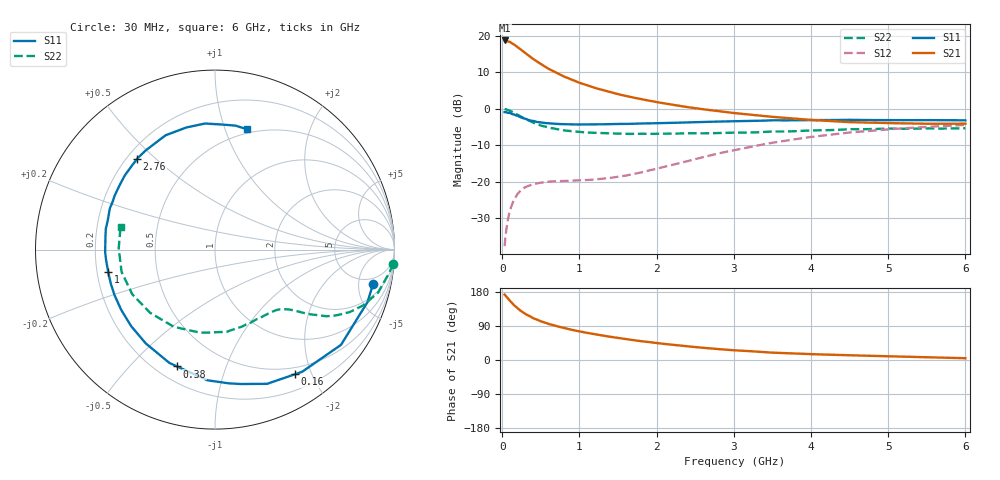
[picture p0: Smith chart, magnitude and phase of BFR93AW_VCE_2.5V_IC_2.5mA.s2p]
! Infineon Technologies  Discrete & RF Semiconductors
! BFR93AW
! VCE =  2.5 V,  IC =  2.5 mA
! Common Emitter S-Parameters:  Nov 2015
# GHz  S  MA  R  50
!  f  S11  S21  S12  S22
! GHz  MAG  ANG  MAG  ANG  MAG  ANG  MAG  ANG
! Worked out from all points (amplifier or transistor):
!   206 points, 30 MHz to 6 GHz, reference 50 ohm
!   highest |S21| = 18.8 dB at 30 MHz (marker M1)
!   |S21| within 3 dB of that: start of sweep to 270.5 MHz
!   unconditionally stable (mu >= 1): 1.153 GHz to 2.429 GHz
!   at 200 MHz: K = 0.18, MSG = 20.1 dB, |S12| = -23.3 dB
!   at 1.56 GHz: K = 1.15, MAG = 8.7 dB, |S12| = -18.5 dB
!   at 6 GHz: K = 0.99, MSG = 0.2 dB, |S12| = -4.4 dB
!   S11 on the Smith chart (normalised r, x): 30 MHz: 3.69, -7.49; 160 MHz: 0.40, -1.76; 380 MHz: 0.28, -0.69; 1 GHz: 0.25, -0.10; 2.76 GHz: 0.24, +0.43; 6 GHz: 0.46, +1.20
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0.03  0.9007 -12.3  8.66 172.6  0.013 81.6  0.9966 -4.6
0.05  0.899 -18.9  8.587 167.5  0.0211 79.7  0.9792 -7.6
0.1  0.8801 -37.1  8.262 155.9  0.0407 70.5  0.9402 -14.7
0.15  0.8361 -54.5  7.657 145.0  0.0559 61.5  0.885 -20.4
0.16  0.8253 -57.3  7.516 143.3  0.0583 60.1  0.873 -21.3
0.2  0.8022 -68.8  7.024 136.0  0.0683 55.4  0.8273 -24.9
0.26  0.7488 -84.2  6.254 126.7  0.0786 48.8  0.7603 -28.9
0.3  0.7293 -93.3  5.801 121.3  0.0842 45.7  0.723 -30.9
0.38  0.6843 -108.0  4.999 112.9  0.0906 40.5  0.6594 -33.4
0.4  0.6806 -111.9  4.819 110.4  0.0923 39.3  0.6438 -34.1
0.5  0.6497 -126.4  4.1 102.0  0.0968 36.1  0.5885 -36.3
0.6  0.6325 -137.6  3.531 95.2  0.1 34.2  0.5523 -37.7
0.8  0.6147 -155.5  2.77 84.2  0.102 34.0  0.5039 -41.2
1  0.6081 -168.2  2.274 75.4  0.1039 36.8  0.481 -44.4
1.04  0.608 -170.4  2.2 73.9  0.1044 37.5  0.4771 -45.4
1.5  0.6194 169.2  1.585 58.2  0.1163 48.8  0.457 -56.3
2.02  0.6351 151.1  1.225 44.1  0.152 60.4  0.4546 -71.0
2.76  0.6653 130.9  0.939 29.5  0.2382 64.6  0.4632 -93.7
3.1  0.6757 122.6  0.853 24.6  0.2834 62.7  0.4699 -104.2
4.1  0.6988 101.5  0.693 14.8  0.4222 50.9  0.5053 -139.0
5.1  0.6978 85.8  0.633 9.4  0.5311 36.1  0.5328 -169.5
6  0.6937 74.9  0.624 4.7  0.5996 23.9  0.5409 166.7
